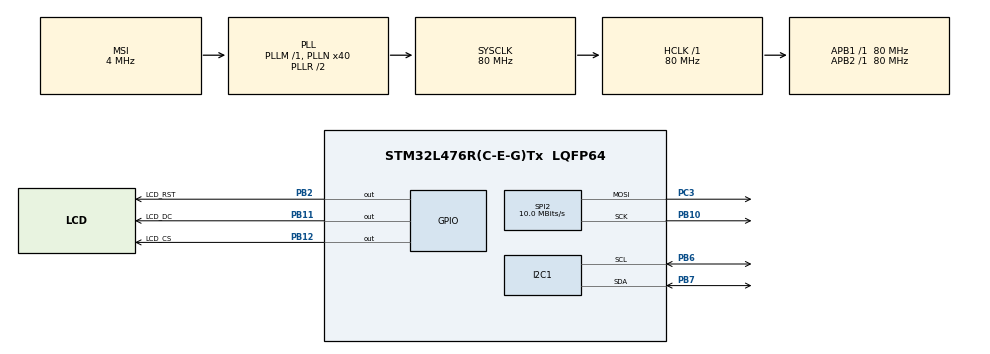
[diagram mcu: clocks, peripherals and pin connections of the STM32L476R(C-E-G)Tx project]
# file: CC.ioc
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I2C1.Timing=0x10909CEC
Mcu.Family=STM32L4
Mcu.Name=STM32L476R(C-E-G)Tx
Mcu.Package=LQFP64
NVIC.PriorityGroup=NVIC_PRIORITYGROUP_4
PA13\ (JTMS-SWDIO).Mode=Serial_Wire
PA13\ (JTMS-SWDIO).Signal=SYS_JTMS-SWDIO
PA14\ (JTCK-SWCLK).Mode=Serial_Wire
PA14\ (JTCK-SWCLK).Signal=SYS_JTCK-SWCLK
PB10.Mode=TX_Only_Simplex_Unidirect_Master
PB10.Signal=SPI2_SCK
PB11.GPIO_Label=LCD_DC
PB11.Signal=GPIO_Output
PB12.GPIO_Label=LCD_CS
PB12.Signal=GPIO_Output
PB2.GPIO_Label=LCD_RST
PB2.Signal=GPIO_Output
PB6.Mode=I2C
PB6.Signal=I2C1_SCL
PB7.Mode=I2C
PB7.Signal=I2C1_SDA
PC3.Mode=TX_Only_Simplex_Unidirect_Master
PC3.Signal=SPI2_MOSI
ProjectManager.HeapSize=0x200
ProjectManager.StackSize=0x400
ProjectManager.TargetToolchain=STM32CubeIDE
RCC.AHBFreq_Value=80000000
RCC.APB1Freq_Value=80000000
RCC.APB1TimFreq_Value=80000000
RCC.APB2Freq_Value=80000000
RCC.APB2TimFreq_Value=80000000
RCC.CortexFreq_Value=80000000
RCC.HCLKFreq_Value=80000000
RCC.HSE_VALUE=8000000
RCC.HSI_VALUE=16000000
RCC.LSE_VALUE=32768
RCC.MSI_VALUE=4000000
RCC.PLLN=40
RCC.SYSCLKFreq_VALUE=80000000
RCC.SYSCLKSource=RCC_SYSCLKSOURCE_PLLCLK
RCC.VCOOutputFreq_Value=160000000
SPI2.BaudRatePrescaler=SPI_BAUDRATEPRESCALER_8
SPI2.CalculateBaudRate=10.0 MBits/s
SPI2.DataSize=SPI_DATASIZE_8BIT
SPI2.Direction=SPI_DIRECTION_2LINES
SPI2.Mode=SPI_MODE_MASTER
SPI2.NSSPMode=SPI_NSS_PULSE_DISABLE
SPI2.VirtualType=VM_MASTER
VP_RTC_VS_RTC_Activate.Mode=RTC_Enabled
board=custom

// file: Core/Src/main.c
/* USER CODE BEGIN Header */
/**
 ******************************************************************************
 * @file           : main.c
 * @brief          : Main program body
 ******************************************************************************
 * @attention
 *
 * Copyright (c) 2023 STMicroelectronics.
 * All rights reserved.
 *
 * This software is licensed under terms that can be found in the LICENSE file
 * in the root directory of this software component.
 * If no LICENSE file comes with this software, it is provided AS-IS.
 *
 ******************************************************************************
 */
/* USER CODE END Header */
#include "main.h"
#include "i2c.h"
#include "rtc.h"
#include "spi.h"
#include "gpio.h"

/* USER CODE BEGIN Includes */
// #include "lcd.h"
// #include "logo.c"

#include <wchar.h>
#include "hagl.h"
#include "font6x9.h"
#include "rgb565.h"
#include "max.h"

#include <stdio.h>
#include <string.h>
#include <stdbool.h>

/* USER CODE END Includes */

void SystemClock_Config(void);

/* USER CODE BEGIN 0 */
uint16_t test_image[64 * 64];
/* USER CODE END 0 */

int main(void)
{
  /* USER CODE BEGIN 1 */

  HAL_StatusTypeDef HAL_RTC_GetTime(RTC_HandleTypeDef * hrtc, RTC_TimeTypeDef * sTime, uint32_t Format);
  HAL_StatusTypeDef HAL_RTC_GetDate(RTC_HandleTypeDef * hrtc, RTC_DateTypeDef * sDate, uint32_t Format);
  /* USER CODE END 1 */

  /* MCU Configuration--------------------------------------------------------*/

  /* Reset of all peripherals, Initializes the Flash interface and the Systick. */
  HAL_Init();

  /* Configure the system clock */
  SystemClock_Config();

  /* Initialize all configured peripherals */
  MX_GPIO_Init();
  MX_SPI2_Init();
  MX_RTC_Init();
  MX_I2C1_Init();

  /* Infinite loop */
  /* USER CODE BEGIN WHILE */

  /* RTC_TimeTypeDef time;
  RTC_DateTypeDef date;

  HAL_RTC_GetTime(&hrtc, &time, RTC_FORMAT_BIN);
  HAL_RTC_GetDate(&hrtc, &date, RTC_FORMAT_BIN);

   */

  lcd_init();

  /* // RECTANGLE
  for (int i = 0; i < 8; i++) {
    hagl_draw_rounded_rectangle(2+i, 2+i, 158-i, 126-i, 8-i, rgb565(0, 0, i*16));
  }

   */

  float your_variable = 1.000; // Przykładowa zmienna int
  wchar_t buffer[32];          // Bufor na ciąg znaków, musi być wystarczająco duży

  // Konwersja int na ciąg znaków
  // swprintf(buffer, 32, L"Pomiar prądu: %.2f mA", your_variable);

  // hagl_put_text(L"Godzina: ", 15, 20, WHITE, font6x9);
  //-l_+p , -g|+d

  // Teraz możesz wywołać funkcję hagl_put_text z tym buforem
  hagl_put_text(buffer, 15, 40, WHITE, font6x9);

  wchar_t time_buffer[32]; // Bufor na ciąg znaków, musi być wystarczająco duży

  while (1)
  {

    RTC_TimeTypeDef time;
    RTC_DateTypeDef date;
    HAL_RTC_GetTime(&hrtc, &time, RTC_FORMAT_BIN);
    HAL_RTC_GetDate(&hrtc, &date, RTC_FORMAT_BIN); // Funkcja musi być wywołana po GetTime
    swprintf(time_buffer, sizeof(time_buffer), L"Czas: %02d:%02d:%02d", time.Hours, time.Minutes, time.Seconds);

    hagl_put_text(time_buffer, 15, 20, WHITE, font6x9);

        float battery_voltage = read_voltage(&hi2c1);
        wchar_t voltage_buffer[32]; // Bufor na napięcie baterii

        if (battery_voltage > 0)
            {
              // Formatowanie i wyświetlanie napięcia baterii
              swprintf(voltage_buffer, sizeof(voltage_buffer), L"Napięcie: %.2fV", battery_voltage);
              hagl_put_text(voltage_buffer, 15, 40, WHITE, font6x9); // Zmienić położenie tekstu w razie potrzeby
            }
        else
            {
              // Wyświetlanie informacji o błędzie
              hagl_put_text(L"Błąd odczytu napięcia!", 15, 40, WHITE, font6x9);
            }

        float battery_soc = read_soc(&hi2c1);
        wchar_t soc_buffer[32]; // Bufor na procent naładowania baterii

        if (battery_soc >= 0)
            {
              // Formatowanie i wyświetlanie stanu naładowania baterii
              swprintf(soc_buffer, sizeof(soc_buffer), L"Naładowanie: %.2f%%", battery_soc);
              hagl_put_text(soc_buffer, 15, 50, WHITE, font6x9); // Zmienić położenie tekstu w razie potrzeby
            }
        else
            {
              // Wyświetlanie informacji o błędzie
              hagl_put_text(L"Błąd odczytu SoC!", 15, 50, WHITE, font6x9);
            }

        uint8_t ic_version = read_ic_version(&hi2c1);
        wchar_t version_buffer[32]; // Bufor na wersję układu IC

        if (ic_version != 0xFF) {
            // Formatowanie i wyświetlanie wersji układu IC
            swprintf(version_buffer, sizeof(version_buffer), L"Wersja IC: 0x%02X", ic_version);
            hagl_put_text(version_buffer, 15, 60, WHITE, font6x9); // Zmienić położenie tekstu w razie potrzeby
        } else {
            // Wyświetlanie informacji o błędzie
            hagl_put_text(L"Błąd odczytu wersji IC!", 15, 60, WHITE, font6x9);
        }

    lcd_copy();
    HAL_Delay(1000);

    /* USER CODE END WHILE */

  }
}

void SystemClock_Config(void)
{
  RCC_OscInitTypeDef RCC_OscInitStruct = {0};
  RCC_ClkInitTypeDef RCC_ClkInitStruct = {0};

  /** Configure the main internal regulator output voltage
   */
  if (HAL_PWREx_ControlVoltageScaling(PWR_REGULATOR_VOLTAGE_SCALE1) != HAL_OK)
  {
    Error_Handler();
  }

  /** Initializes the RCC Oscillators according to the specified parameters
   * in the RCC_OscInitTypeDef structure.
   */
  RCC_OscInitStruct.OscillatorType = RCC_OSCILLATORTYPE_LSI | RCC_OSCILLATORTYPE_MSI;
  RCC_OscInitStruct.LSIState = RCC_LSI_ON;
  RCC_OscInitStruct.MSIState = RCC_MSI_ON;
  RCC_OscInitStruct.MSICalibrationValue = 0;
  RCC_OscInitStruct.MSIClockRange = RCC_MSIRANGE_6;
  RCC_OscInitStruct.PLL.PLLState = RCC_PLL_ON;
  RCC_OscInitStruct.PLL.PLLSource = RCC_PLLSOURCE_MSI;
  RCC_OscInitStruct.PLL.PLLM = 1;
  RCC_OscInitStruct.PLL.PLLN = 40;
  RCC_OscInitStruct.PLL.PLLP = RCC_PLLP_DIV7;
  RCC_OscInitStruct.PLL.PLLQ = RCC_PLLQ_DIV2;
  RCC_OscInitStruct.PLL.PLLR = RCC_PLLR_DIV2;
  if (HAL_RCC_OscConfig(&RCC_OscInitStruct) != HAL_OK)
  {
    Error_Handler();
  }

  /** Initializes the CPU, AHB and APB buses clocks
   */
  RCC_ClkInitStruct.ClockType = RCC_CLOCKTYPE_HCLK | RCC_CLOCKTYPE_SYSCLK | RCC_CLOCKTYPE_PCLK1 | RCC_CLOCKTYPE_PCLK2;
  RCC_ClkInitStruct.SYSCLKSource = RCC_SYSCLKSOURCE_PLLCLK;
  RCC_ClkInitStruct.AHBCLKDivider = RCC_SYSCLK_DIV1;
  RCC_ClkInitStruct.APB1CLKDivider = RCC_HCLK_DIV1;
  RCC_ClkInitStruct.APB2CLKDivider = RCC_HCLK_DIV1;

  if (HAL_RCC_ClockConfig(&RCC_ClkInitStruct, FLASH_LATENCY_4) != HAL_OK)
  {
    Error_Handler();
  }
}

void Error_Handler(void)
{
  __disable_irq();
  while (1)
  {
  }
}
